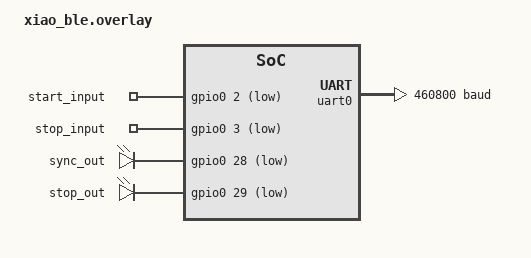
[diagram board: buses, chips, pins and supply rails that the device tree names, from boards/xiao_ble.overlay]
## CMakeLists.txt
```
#
# Copyright (c) 2018 Nordic Semiconductor
#
# SPDX-License-Identifier: LicenseRef-Nordic-5-Clause
#
cmake_minimum_required(VERSION 3.20.0)

find_package(Zephyr REQUIRED HINTS $ENV{ZEPHYR_BASE})
project(Coordinator_build_bin_SEEED)

FILE(GLOB app_sources src/*.c)
# NORDIC SDK APP START
target_sources(app PRIVATE ${app_sources})
# NORDIC SDK APP END
```

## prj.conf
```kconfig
#
# Copyright (c) 2019 Nordic Semiconductor ASA
#
# SPDX-License-Identifier: LicenseRef-Nordic-5-Clause

#
# ===== UART SETTINGS =====
#
# Enable UART hardware + driver subsystem
CONFIG_SERIAL=y
# Use interrupt-driven UART (uart_irq_* API)
CONFIG_UART_INTERRUPT_DRIVEN=y
# Explicitly disable async UART (EasyDMA + event API)
# Note: Async API (as used in the Nano) caused crashes/resets on the XIAO BLE
CONFIG_UART_ASYNC_API=n

#
# ===== ESB RADIO SETTINGS =====
#
# Enable Enhanced ShockBurst (Nordic proprietary 2.4GHz)
CONFIG_ESB=y
# Use Nordic’s recommended defaults (clock setup, IRQ priorities, etc.)
CONFIG_NCS_SAMPLES_DEFAULTS=y
# Produce a UF2 file so we can drag-and-drop the firmware to the XIAO bootloader
CONFIG_BUILD_OUTPUT_UF2=y

#
# ===== SAFETY / DEBUG SETTINGS =====
#
# Enable kernel + driver assertions
# Note: helpful during development only
CONFIG_ASSERT=y
# Increase main thread stack size to prevents stack overflows when running ESB + UART + timers
CONFIG_MAIN_STACK_SIZE=4096
# Increase ISR stack size (UART and ESB IRQs) to prevents hard faults caused by IRQ stack overflow
CONFIG_ISR_STACK_SIZE=4096

#
# ===== DISABLE CONSOLE / USB =====
#
# Disable UART console (frees UART0 for OLA communication)
CONFIG_UART_CONSOLE=n
# Disable printk() and console subsystem completely (removes console backend)
# Note: console backend is not working - better to disable completely
CONFIG_PRINTK=n
CONFIG_CONSOLE=n
# Disable USB device stack (CDC ACM virtual COM port)
CONFIG_USB_DEVICE_STACK=n
CONFIG_USB_CDC_ACM=n
```

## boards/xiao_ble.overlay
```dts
// xiao_ble.overlay
// Application-specific overrides and definitions

// Change UART baud rate
&uart0 {
    current-speed = <460800>;
};

// Define GPIO outputs and outputs
/ {
	gpio_in {
		compatible = "gpio-keys"; // Inherit gpio-keys properties
		start_in: gpio_start_in {
			gpios = < &gpio0 2 (GPIO_ACTIVE_LOW | GPIO_PULL_UP) >;
			label = "start_input";
		};
		stop_in: gpio_stop_in {
			gpios = < &gpio0 3 (GPIO_ACTIVE_LOW | GPIO_PULL_UP) >;
			label = "stop_input";
		};
	};
	
	gpio_out {
		compatible = "gpio-leds"; // Inherit gpio-led properties
		sync_out: gpio_sync_out {
			gpios = <&gpio0 28 GPIO_ACTIVE_LOW>;
		};
		stop_out: gpio_stop_out {
			gpios = <&gpio0 29 GPIO_ACTIVE_LOW>;
		};
	};
};
```

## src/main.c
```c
/*
 * Copyright (c) 2018 Nordic Semiconductor ASA
 *
 * SPDX-License-Identifier: LicenseRef-Nordic-5-Clause
 */

/*************************************************************************************
 * WMORE Coordinator firmware (XIAO BLE):
 * 03.11.22
 *
 * - Sends sync packets to OLA via ESB.
 * - Each ESB payload includes:
 *     [SOF] [Command] [t3] [t2] [t1] [t0] [hh] [CHK]
 *   where:
 *     SOF   : start-of-frame marker
 *     Command: TX_CMD_SYNC or TX_CMD_STOP
 *     t3..t0: UNIX time in uint32_t (MSB first)
 *     hh    : hundredths
 *     CHK   : CRC-8 over bytes 0..6
 *
 * Original version was written for OLA + Arduino Nano and later adapted to XIAO BLE.
 *************************************************************************************/

#include <drivers/clock_control.h>
#include <drivers/clock_control/nrf_clock_control.h>
#include <zephyr/drivers/gpio.h>
#include <irq.h>
#include <logging/log.h>
#include <nrf.h>
#include <esb.h>
#include <zephyr.h>
#include <zephyr/types.h>
#include <zephyr/usb/usb_device.h>
#include <drivers/uart.h>
#include <zephyr/sys/printk.h>
#include <zephyr/device.h>
#include <zephyr/devicetree.h>
#include <zephyr/kernel.h>

// Define boards
#define XIAO

/* -------------------------------------------------------------------------- */
/*  Compile-time configuration                                                 */
/* -------------------------------------------------------------------------- */

#define TX_PAYLOAD_LEN      8      // Total ESB payload length: [SOF][CMD][5 data][CHK]
#define TX_CMD_SYNC         0      // Sample synchronisation
#define TX_CMD_STOP         1      // Stop sampling
#define SOF                 0xAA   // Start-of-frame marker
#define DATA_LEN            5      // [t3][t2][t1][t0][hh]
#define SAMPLE_INTERVAL_MS  10     // ESB sync period (10 ms)
#define DEBOUNCE            50000  // Button debounce delay in µs

/* -------------------------------------------------------------------------- */
/*  Devicetree node labels (from .dts / .overlay)                             */
/* -------------------------------------------------------------------------- */

#define START_INPUT  DT_NODELABEL(start_in)
#define STOP_INPUT   DT_NODELABEL(stop_in)
#define SYNC_OUTPUT  DT_NODELABEL(sync_out)
#define STOP_OUTPUT  DT_NODELABEL(stop_out)

#if defined(XIAO)
#define LED          DT_NODELABEL(led0)
#endif

#define _RADIO_SHORTS_COMMON                                                \
    (RADIO_SHORTS_READY_START_Msk | RADIO_SHORTS_END_DISABLE_Msk |          \
     RADIO_SHORTS_ADDRESS_RSSISTART_Msk |                                   \
     RADIO_SHORTS_DISABLED_RSSISTOP_Msk)

/* -------------------------------------------------------------------------- */
/*  Devicetree-backed GPIO / device handles                                   */
/* -------------------------------------------------------------------------- */

static const struct gpio_dt_spec start_input = GPIO_DT_SPEC_GET(START_INPUT, gpios);
static const struct gpio_dt_spec sync_output = GPIO_DT_SPEC_GET(SYNC_OUTPUT, gpios);
static const struct gpio_dt_spec stop_output = GPIO_DT_SPEC_GET(STOP_OUTPUT, gpios);
static const struct gpio_dt_spec led         = GPIO_DT_SPEC_GET(LED, gpios);
static const struct device *uart             = DEVICE_DT_GET(DT_NODELABEL(uart0));

/* -------------------------------------------------------------------------- */
/*  Global variables                                                          */
/* -------------------------------------------------------------------------- */

/* UART RX buffer used to assemble a 5-byte RTC frame from OLA */
static uint8_t uart_rx_buf[DATA_LEN] = {0};

/* Last complete RTC frame received from OLA (used in ESB payload) */
static uint8_t latest_rtc[DATA_LEN] = {0};

/* Count how many bytes have been received into uart_rx_buf */
static volatile size_t rx_count = 0;

/* Periodic timer generating SAMPLE_INTERVAL_MS “ticks” */
struct k_timer periodic_timer;

/* Stop flag: set when STOP command is sent, breaks inner loop */
bool stop_flag = false;

/* Timer flag: set by periodic_timer_cb(), consumed in main loop */
volatile bool timer_event = false;

/* ESB TX payload (initialised with dummy bytes) */
static struct esb_payload tx_payload = ESB_CREATE_PAYLOAD(
    0,
    0x00, 0x00, 0x00, 0x00,
    0x00, 0x00, 0x00, 0x00
);

/* -------------------------------------------------------------------------- */
/*  Helper functions / callbacks                                              */
/* -------------------------------------------------------------------------- */

/*
 * CRC-8 computation with polynomial 0x07.
 * Used to compute CHK over ESB bytes [0..6].
 */
static inline uint8_t crc8_0x07(const uint8_t *buf, uint8_t len)
{
    uint8_t crc = 0x00;

    while (len--) {
        crc ^= *buf++;
        for (uint8_t i = 0; i < 8; i++) {
            crc = (crc & 0x80) ? ((crc << 1) ^ 0x07) : (crc << 1);
        }
    }
    return crc;
}

/*
 * ESB event callback.
 * Currently only distinguishes the event types; logging is commented out.
 */
void esb_cb(struct esb_evt const *event)
{
    switch (event->evt_id) {
    case ESB_EVENT_TX_SUCCESS:
        // LOG_DBG("TX SUCCESS EVENT");
        break;
    case ESB_EVENT_TX_FAILED:
        // LOG_DBG("TX FAILED EVENT");
        break;
    case ESB_EVENT_RX_RECEIVED:
        // RX not used in this application (PTX only)
        break;
    default:
        break;
    }
}

/*
 * Timer callback: simply raises timer_event,
 * which is later consumed in the main loop.
 */
void periodic_timer_cb(struct k_timer *dummy)
{
    ARG_UNUSED(dummy);
    timer_event = true;
}

/*
 * UART IRQ callback (interrupt-driven RX).
 *
 * - Continuously reads incoming bytes from UART FIFO.
 * - Fills uart_rx_buf[] until DATA_LEN bytes are received.
 * - On each full frame, copies uart_rx_buf[] into latest_rtc[] and resets rx_count.
 * - No blocking and no disabling of RX; we always keep capturing the latest frame.
 */
static void uart_irq_cb(const struct device *dev, void *user_data)
{
    uint8_t ch;

    ARG_UNUSED(user_data);

    while (uart_irq_update(dev) && uart_irq_rx_ready(dev)) {
        while (uart_fifo_read(dev, &ch, 1) == 1) {
            /* Accumulate into uart_rx_buf */
            uart_rx_buf[rx_count++] = ch;

            if (rx_count >= DATA_LEN) {
                /* We have a full [t3 t2 t1 t0 hh] frame from OLA */
                for (size_t i = 0; i < DATA_LEN; ++i) {
                    latest_rtc[i] = uart_rx_buf[i];
                }
                /* Reset count for next frame */
                rx_count = 0;
            }
        }
    }
}

/* -------------------------------------------------------------------------- */
/*  Initialisation functions                                                  */
/* -------------------------------------------------------------------------- */

/*
 * Initialise high-frequency clock.
 * Required by ESB/radio.
 */
int clocks_start(void)
{
    int err;
    int res;
    struct onoff_manager *clk_mgr;
    struct onoff_client clk_cli;

    clk_mgr = z_nrf_clock_control_get_onoff(CLOCK_CONTROL_NRF_SUBSYS_HF);
    if (!clk_mgr) {
        // LOG_ERR("Unable to get the Clock manager");
        return -ENXIO;
    }

    sys_notify_init_spinwait(&clk_cli.notify);

    err = onoff_request(clk_mgr, &clk_cli);
    if (err < 0) {
        // LOG_ERR("Clock request failed: %d", err);
        return err;
    }

    do {
        err = sys_notify_fetch_result(&clk_cli.notify, &res);
        if (!err && res) {
            // LOG_ERR("Clock could not be started: %d", res);
            return res;
        }
    } while (err);

    // LOG_DBG("HF clock started");
    return 0;
}

/*
 * Initialise ESB in PTX mode with:
 * - 3-byte addresses
 * - 2 Mbps bitrate
 * - 16-bit CRC
 * - manual TX mode (esb_start_tx() required)
 * - selective auto-ack enabled
 */
int esb_initialize(void)
{
    int err;

    /* Default addresses.
     * These should be unique per device / network.
     */
    uint8_t base_addr_0[2] = {0xE7, 0xE7};
    uint8_t base_addr_1[2] = {0xC2, 0xC2};
    uint8_t addr_prefix[8] = {
        0xE7, 0xC2, 0xC3, 0xC4,
        0xC5, 0xC6, 0xC7, 0xC8
    };

    struct esb_config config = ESB_DEFAULT_CONFIG;

    config.protocol            = ESB_PROTOCOL_ESB_DPL;  // Dynamic payload length
    config.mode                = ESB_MODE_PTX;
    config.event_handler       = esb_cb;
    config.bitrate             = ESB_BITRATE_2MBPS;
    config.crc                 = ESB_CRC_16BIT;
    config.tx_output_power     = ESB_TX_POWER_4DBM;
    config.retransmit_delay    = 600;
    config.retransmit_count    = 0;
    config.tx_mode             = ESB_TXMODE_MANUAL;     // Use esb_start_tx()
    config.payload_length      = TX_PAYLOAD_LEN;
    config.selective_auto_ack  = true;

    err = esb_init(&config);
    if (err) {
        return err;
    }

    /* 3-byte address to reduce transmit time. */
    err = esb_set_address_length(3);
    if (err) {
        return err;
    }

    err = esb_set_base_address_0(base_addr_0);
    if (err) {
        return err;
    }

    err = esb_set_base_address_1(base_addr_1);
    if (err) {
        return err;
    }

    err = esb_set_prefixes(addr_prefix, ARRAY_SIZE(addr_prefix));
    if (err) {
        return err;
    }

    err = esb_set_rf_channel(0);
    if (err) {
        return err;
    }

    return 0;
}

/*
 * Initialise GPIO pins:
 * - start_input : button (input)
 * - sync_output : SYNC pulse to OLA/loggers (output)
 * - stop_output : STOP pulse (output)
 * - led         : status LED (output)
 */
int pins_init(void)
{
    if (!device_is_ready(sync_output.port)) return -ENODEV;
    if (!device_is_ready(stop_output.port)) return -ENODEV;
    if (!device_is_ready(start_input.port)) return -ENODEV;
    if (!device_is_ready(led.port))         return -ENODEV;

    int r;

    r = gpio_pin_configure_dt(&start_input, GPIO_INPUT);             if (r) return r;
    r = gpio_pin_configure_dt(&sync_output, GPIO_OUTPUT_INACTIVE);   if (r) return r;
    r = gpio_pin_configure_dt(&stop_output, GPIO_OUTPUT_INACTIVE);   if (r) return r;
    r = gpio_pin_configure_dt(&led, GPIO_OUTPUT_INACTIVE);           if (r) return r;

    return 0;
}

/*
 * Initialise UART in interrupt-driven mode:
 * - Sets ISR callback.
 * - Enables RX interrupts so uart_irq_cb() is called on incoming data.
 */
int uart_init(void)
{
    if (!device_is_ready(uart)) {
        return -ENODEV;
    }

    uart_irq_callback_set(uart, uart_irq_cb);
    uart_irq_rx_enable(uart);
    return 0;
}


/* -------------------------------------------------------------------------- */
/*  Main application loop                                                     */
/* -------------------------------------------------------------------------- */

void main(void)
{
	uint8_t i;
    int err;

    err = pins_init();
    if (err) {
        return;
    }

    /* Power-on blink to prove LED mapping */
    for (int j = 0; j < 6; ++j) {
        gpio_pin_set_dt(&led, true);
        k_msleep(150);
        gpio_pin_set_dt(&led, false);
        k_msleep(150);
    }

    err = clocks_start();
    if (err) {
        return;
    }

    err = esb_initialize();
    if (err) {
        // LOG_ERR("ESB initialization failed, err %d", err);
        return;
    }

    err = uart_init();
    if (err) {
        return;
    }

    k_timer_init(&periodic_timer, periodic_timer_cb, NULL);
    k_timer_start(&periodic_timer,
                  K_MSEC(SAMPLE_INTERVAL_MS),
                  K_MSEC(SAMPLE_INTERVAL_MS));

    // LOG_INF("Initialization complete");
    // LOG_INF("Sending test packet");

    tx_payload.noack = true;

    /*
     * Initialise the DATA section [2..6] of tx_payload to zero.
     * This ensures that before the first UART frame arrives,
     * payload contains deterministic values.
     */
    for (i = 0; i < DATA_LEN; i++) {
        tx_payload.data[2 + i] = 0;
    }

    /* Main loop: wait for button press, then periodically send ESB sync packets
     * until STOP is requested, then wait for button release and loop again.
     */
    while (true) {
        stop_flag = false;

        /* Wait for button press (active-low) */
        while (gpio_pin_get_dt(&start_input) == false)
            ;
        k_busy_wait(DEBOUNCE); // Debounce: wait for button to stabilise

        /* Wait for button release */
        while (gpio_pin_get_dt(&start_input) == true)
            ;
        k_busy_wait(DEBOUNCE); // Debounce

        /* Logging / sync phase: run until stop_flag is set */
        while (stop_flag == false) {
            if (timer_event) {
                timer_event = false;

                /* ---- Build payload header ---- */
                tx_payload.data[0] = SOF;

                if (gpio_pin_get_dt(&start_input) == false) {
                    /* Button active-low pressed: keep syncing */
                    tx_payload.data[1] = TX_CMD_SYNC;
                } else {
                    /*
                     * Button released: request STOP once,
                     * assert local STOP output and exit loop.
                     */
                    tx_payload.data[1] = TX_CMD_STOP;
                    gpio_pin_set_dt(&stop_output, true);
                    stop_flag = true;
                }

                /*
                 * ---- Copy latest RTC into bytes 2..6 ----
                 * If no frame has arrived yet, latest_rtc[] is still all zeros.
                 * We never block waiting on UART here.
                 */
                gpio_pin_set_dt(&led, true);
                for (i = 0; i < DATA_LEN; i++) {
                    tx_payload.data[2 + i] = latest_rtc[i];
                }
                gpio_pin_set_dt(&led, false);

                /* ---- Compute CHK over bytes [0..6] and place at [7] ---- */
                tx_payload.data[TX_PAYLOAD_LEN - 1] =
                    crc8_0x07(tx_payload.data, TX_PAYLOAD_LEN - 1);

                /* ---- Transmit over ESB ---- */
                (void)esb_flush_tx();
                gpio_pin_set_dt(&sync_output, true);   // Assert local SYNC while sending
                (void)esb_write_payload(&tx_payload);
                (void)esb_start_tx();
                gpio_pin_set_dt(&sync_output, false);  // De-assert SYNC

            }
        }

        /* After STOP: wait for button release again before restarting */
        k_busy_wait(DEBOUNCE); // Debounce
        while (gpio_pin_get_dt(&start_input) == true);
        k_busy_wait(DEBOUNCE); // Debounce

        /* De-assert local STOP output */
        gpio_pin_set_dt(&stop_output, false);
    }
}
```
